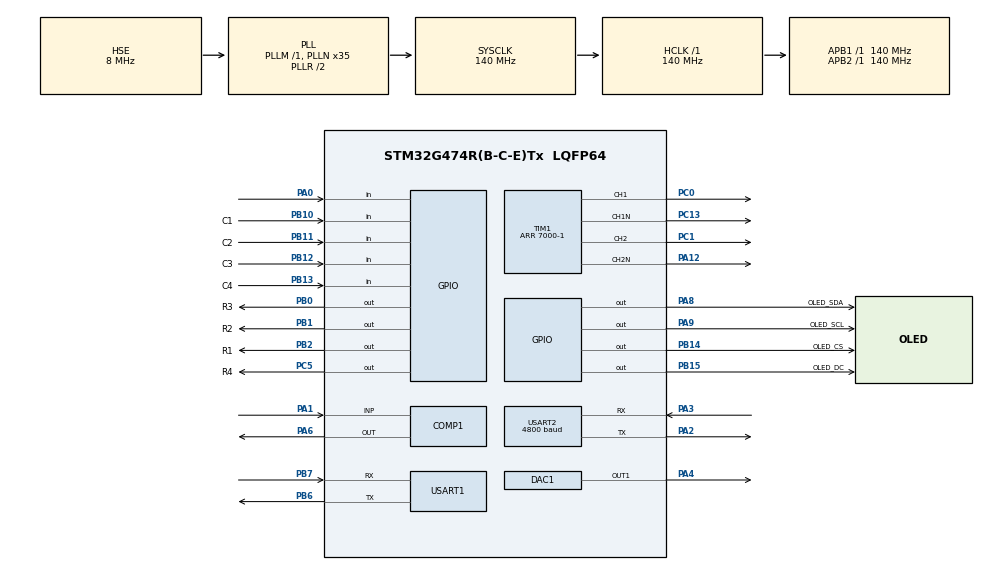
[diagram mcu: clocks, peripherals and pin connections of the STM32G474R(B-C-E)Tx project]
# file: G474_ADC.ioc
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COMP1.OutputPol=COMP_OUTPUTPOL_NONINVERTED
COMP1.TriggerMode=COMP_TRIGGERMODE_IT_RISING_FALLING
DAC1.DAC_Trigger_OUT1-DAC_OUT1_ExtAndInt=DAC_TRIGGER_SOFTWARE
DAC1.DAC_UserTrimming-DAC_OUT1_ExtAndInt=DAC_TRIMMING_FACTORY
Mcu.Family=STM32G4
Mcu.Name=STM32G474R(B-C-E)Tx
Mcu.Package=LQFP64
NVIC.COMP1_2_3_IRQn=true\:1\:0\:true\:false\:true\:false\:true\:true
NVIC.PriorityGroup=NVIC_PRIORITYGROUP_4
NVIC.TIM2_IRQn=true\:0\:0\:false\:false\:true\:true\:true\:true
NVIC.TIM4_IRQn=true\:1\:0\:true\:false\:true\:true\:true\:true
NVIC.USART1_IRQn=true\:0\:0\:true\:false\:true\:true\:true\:true
NVIC.USART2_IRQn=true\:0\:0\:false\:false\:true\:true\:true\:true
PA0.GPIO_PuPd=GPIO_PULLDOWN
PA0.Signal=GPIO_Input
PA1.Mode=INP
PA1.Signal=COMP1_INP
PA12.Mode=PWM Generation2 CH2 CH2N
PA12.Signal=TIM1_CH2N
PA13.Mode=Serial_Wire
PA13.Signal=SYS_JTMS-SWDIO
PA14.Mode=Serial_Wire
PA14.Signal=SYS_JTCK-SWCLK
PA2.Mode=Asynchronous
PA2.Signal=USART2_TX
PA3.Mode=Asynchronous
PA3.Signal=USART2_RX
PA4.Signal=COMP_DAC11_group
PA6.Mode=ExternalOutput
PA6.Signal=COMP1_OUT
PA8.GPIO_Label=OLED_SDA
PA8.GPIO_PuPd=GPIO_PULLUP
PA8.GPIO_Speed=GPIO_SPEED_FREQ_VERY_HIGH
PA8.Signal=GPIO_Output
PA9.GPIO_Label=OLED_SCL
PA9.GPIO_PuPd=GPIO_PULLUP
PA9.GPIO_Speed=GPIO_SPEED_FREQ_VERY_HIGH
PA9.Signal=GPIO_Output
PB0.GPIO_Label=R3
PB0.GPIO_PuPd=GPIO_PULLDOWN
PB0.Signal=GPIO_Output
PB1.GPIO_Label=R2
PB1.GPIO_PuPd=GPIO_PULLDOWN
PB1.Signal=GPIO_Output
PB10.GPIO_Label=C1
PB10.GPIO_PuPd=GPIO_PULLDOWN
PB10.Signal=GPIO_Input
PB11.GPIO_Label=C2
PB11.GPIO_PuPd=GPIO_PULLDOWN
PB11.Signal=GPIO_Input
PB12.GPIO_Label=C3
PB12.GPIO_PuPd=GPIO_PULLDOWN
PB12.Signal=GPIO_Input
PB13.GPIO_Label=C4
PB13.GPIO_PuPd=GPIO_PULLDOWN
PB13.Signal=GPIO_Input
PB14.GPIO_Label=OLED_CS
PB14.GPIO_Speed=GPIO_SPEED_FREQ_VERY_HIGH
PB14.Signal=GPIO_Output
PB15.GPIO_Label=OLED_DC
PB15.GPIO_PuPd=GPIO_PULLUP
PB15.GPIO_Speed=GPIO_SPEED_FREQ_VERY_HIGH
PB15.Signal=GPIO_Output
PB2.GPIO_Label=R1
PB2.GPIO_PuPd=GPIO_PULLDOWN
PB2.Signal=GPIO_Output
PB6.Mode=Asynchronous
PB6.Signal=USART1_TX
PB7.Mode=Asynchronous
PB7.Signal=USART1_RX
PC0.Signal=S_TIM1_CH1
PC1.Signal=S_TIM1_CH2
PC13.Mode=PWM Generation1 CH1 CH1N
PC13.Signal=TIM1_CH1N
PC5.GPIO_Label=R4
PC5.GPIO_PuPd=GPIO_PULLDOWN
PC5.Signal=GPIO_Output
PF0-OSC_IN.Mode=HSE-External-Oscillator
PF0-OSC_IN.Signal=RCC_OSC_IN
PF1-OSC_OUT.Mode=HSE-External-Oscillator
PF1-OSC_OUT.Signal=RCC_OSC_OUT
ProjectManager.HeapSize=0x200
ProjectManager.StackSize=0x400
ProjectManager.TargetToolchain=STM32CubeIDE
RCC.ADC12Freq_Value=140000000
RCC.ADC345Freq_Value=140000000
RCC.AHBFreq_Value=140000000
RCC.APB1Freq_Value=140000000
RCC.APB1TimFreq_Value=140000000
RCC.APB2Freq_Value=140000000
RCC.APB2TimFreq_Value=140000000
RCC.CortexFreq_Value=140000000
RCC.EXTERNAL_CLOCK_VALUE=12288000
RCC.HCLKFreq_Value=140000000
RCC.HSE_VALUE=8000000
RCC.HSI48_VALUE=48000000
RCC.HSI_VALUE=16000000
RCC.LSE_VALUE=32768
RCC.PLLN=35
RCC.PLLSourceVirtual=RCC_PLLSOURCE_HSE
RCC.SYSCLKFreq_VALUE=140000000
RCC.SYSCLKSource=RCC_SYSCLKSOURCE_PLLCLK
RCC.USBFreq_Value=140000000
RCC.VCOOutputFreq_Value=280000000
SH.COMP_DAC11_group.0=DAC1_OUT1,DAC_OUT1_ExtAndInt
SH.S_TIM1_CH1.0=TIM1_CH1,PWM Generation1 CH1 CH1N
SH.S_TIM1_CH2.0=TIM1_CH2,PWM Generation2 CH2 CH2N
TIM1.AutoReloadPreload=TIM_AUTORELOAD_PRELOAD_ENABLE
TIM1.Channel-PWM\ Generation1\ CH1\ CH1N=TIM_CHANNEL_1
TIM1.Channel-PWM\ Generation2\ CH2\ CH2N=TIM_CHANNEL_2
TIM1.DeadTime=70
TIM1.OC1Preload_PWM=ENABLE
TIM1.PeriodNoDither=7000-1
TIM1.PulseNoDither_1=3500
TIM1.PulseNoDither_2=3500
TIM1.TIM_MasterOutputTrigger=TIM_TRGO_RESET
TIM1.TIM_MasterSlaveMode=TIM_MASTERSLAVEMODE_DISABLE
TIM2.AutoReloadPreload=TIM_AUTORELOAD_PRELOAD_DISABLE
TIM2.CounterMode=TIM_COUNTERMODE_UP
TIM2.PeriodNoDither=900
TIM2.Prescaler=140-1
TIM4.AutoReloadPreload=TIM_AUTORELOAD_PRELOAD_ENABLE
TIM4.PeriodNoDither=10000
TIM4.Prescaler=1400-1
USART1.VirtualMode-Asynchronous=VM_ASYNC
USART2.BaudRate=4800
USART2.VirtualMode-Asynchronous=VM_ASYNC
VP_COMP1_VS_DAC1OUT1.Mode=INM_DAC1OUT1
VP_SYS_VS_DBSignals.Mode=DisableDeadBatterySignals
VP_TIM2_VS_ClockSourceINT.Mode=Internal
VP_TIM4_VS_ClockSourceINT.Mode=Internal
board=custom

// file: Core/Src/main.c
/* USER CODE BEGIN Header */
/**
 ******************************************************************************
 * @file           : main.c
 * @brief          : Main program body
 ******************************************************************************
 * @attention
 *
 * Copyright (c) 2024 STMicroelectronics.
 * All rights reserved.
 *
 * This software is licensed under terms that can be found in the LICENSE file
 * in the root directory of this software component.
 * If no LICENSE file comes with this software, it is provided AS-IS.
 *
 ******************************************************************************
 */
/* USER CODE END Header */
#include "main.h"
#include "comp.h"
#include "dac.h"
#include "tim.h"
#include "usart.h"
#include "gpio.h"

/* USER CODE BEGIN Includes */
#include <string.h>
#include <stdio.h>
#include "oled.h"
#include "vofa.h"
#include "pid.h"
#include "IM1281B.h"
/* USER CODE END Includes */

/* USER CODE BEGIN PD */
#define POSITIVE 1
#define NEGATIVE 0
#define PWM_COMPARE_MAX 6800
/* USER CODE END PD */

/* USER CODE BEGIN PM */
//串口重定向到usart1
#ifdef __GNUC__
#define PUTCHAR_PROTOTYPE int __io_putchar(int ch)
#else
#define PUTCHAR_PROTOTYPE int fputc(int ch, FILE *f)
#endif

PUTCHAR_PROTOTYPE
{
	HAL_UART_Transmit(&huart1,(uint8_t*)&ch, 1, 0xFFFF);
	return ch;
}
/* USER CODE END PM */

/* USER CODE BEGIN PV */
/* Private variables ---------------------------------------------------------*/
uint16_t g_count=0;
uint8_t g_H=0;
uint8_t g_L=0;
uint32_t g_time_last=0,g_time_now=0;
uint8_t g_ac_mode;
uint8_t g_pwm_start=0;
uint16_t g_pwm_compare=0;

uint8_t RxBuffer[1];//串口接收缓冲
/* USER CODE END PV */

void SystemClock_Config(void);

/* USER CODE BEGIN 0 */

// tim2 other use
//void Delay_us(uint16_t nus)
//{
//	__HAL_TIM_SET_COUNTER(&htim2, 0); //把计数器的�?�设置为0
//	__HAL_TIM_ENABLE(&htim2); //�???????????????????????启计�???????????????????????
//	while (__HAL_TIM_GET_COUNTER(&htim2) < nus); //每计数一次，就是1us，直到计数器值等于我们需要的时间
//	__HAL_TIM_DISABLE(&htim2); //关闭计数
//
//}
void HAL_UART_RxCpltCallback(UART_HandleTypeDef *UartHandle)
{
    uint8_t Byte;

    if(UartHandle->Instance==USART2)//如果是串�?????????
       {
           //电压反馈
           Byte=g_uart_rx_byte;// ??个一个字节地接收

   		if (g_uart_rx_index == 0) {
   			if (Byte == MODBUS_FRAME_DEVICE_BYTE) {
   				g_uart_rx_buffer[g_uart_rx_index++] = Byte;//�????????? ? 完后再�?�增
   			}
   		}
   		else if(g_uart_rx_index == 1){
   			if (Byte == MODBUS_FRAME_READ_BYTE || Byte == MODBUS_FRAME_WRITE_BYTE) {
   				g_uart_rx_buffer[g_uart_rx_index++] = Byte;//�????????? ? 完后再�?�增
   			}
   			else{//无法识别为CFG服务
   				g_uart_rx_index = 0;
   			}
   		}
   		else {
   			g_uart_rx_buffer[g_uart_rx_index++] = Byte;
   			if (g_uart_rx_index >= FRAME_RECEIVE_LENGTH) {
   				g_uart_rx_index = 0;
   				g_uart_frame_received = 1;
   			}
   		}

           HAL_UART_Receive_IT(&huart2, &g_uart_rx_byte, 1);
       }

}

void HAL_TIM_PeriodElapsedCallback(TIM_HandleTypeDef *htim)
{
	static uint8_t Key=0;
	static uint8_t Key_Last=0;

	if(htim==&htim2){
		g_count++;

		HAL_TIM_Base_Stop(&htim2);
		if(g_pwm_compare >= PWM_COMPARE_MAX){
			g_pwm_compare = PWM_COMPARE_MAX;
		}
		g_pwm_compare = 6990;
		if(HAL_COMP_GetOutputLevel(&hcomp1)==COMP_OUTPUT_LEVEL_HIGH){
			// AC 正半�???????????????
			__HAL_TIM_SetCompare(&htim1, TIM_CHANNEL_1,g_pwm_compare);
			__HAL_TIM_SetCompare(&htim1, TIM_CHANNEL_2,0);
////			//AC负半周的过零
//			HAL_DAC_SetValue(&hdac1, DAC_CHANNEL_1, DAC_ALIGN_12B_R, 3080);
//			HAL_DAC_Start(&hdac1,DAC_CHANNEL_1);//启动DAC1

		}
		else {
			__HAL_TIM_SetCompare(&htim1, TIM_CHANNEL_1,0);
			__HAL_TIM_SetCompare(&htim1, TIM_CHANNEL_2,g_pwm_compare);
////			//AC正半周的过零
//			HAL_DAC_SetValue(&hdac1, DAC_CHANNEL_1, DAC_ALIGN_12B_R, 3150);
//			HAL_DAC_Start(&hdac1,DAC_CHANNEL_1);//启动DAC1
		}
		g_time_last = g_time_now;
	}

    //按键处理
    if(htim == (&htim4))
    {
        Key = Get_KeyBoard();
        if(Key != Key_Last)
        {
            switch(Key)
            {
                case 0: break;
                case 1:
                    if(g_level == 0)
                        g_suboption0 = (g_suboption0 +1)%4;
                    break;
                case 2:
                    g_suboption0--;
                    if(g_suboption0<0)
                        g_suboption0 = 3;
                    break;
                case 3:
                    g_level = (g_level+1)%2; break;
                case 4:
                    g_level --;
                    if(g_level <0)
                        g_level = 1;
                    break;
                case 9:
                    g_aim_voltage += 0.5;
                    if(g_aim_voltage>35)
                        g_aim_voltage=1;
                    g_pwm_compare = 7000/36*g_aim_voltage;
                    OLED_Printf(10, 10, 16, "voltage=%.2f",g_aim_voltage);
                    OLED_Printf(10, 30, 16, "compare=%04d",g_pwm_compare);
                    OLED_Reflash();
                    break;
                case 10:
                    g_aim_voltage -=0.5;
                    if(g_aim_voltage<1)
                        g_aim_voltage=35;
                    g_pwm_compare = 7000/36*g_aim_voltage;
					OLED_Printf(10, 10, 16, "voltage=%4.2f   ",g_aim_voltage);
					OLED_Printf(10, 30, 16, "compare=%04d",g_pwm_compare);
					OLED_Reflash();
                    break;
                case 17:
                    break;

            }

        }
       // menu_show(g_level, g_suboption0);
        Key_Last = Key;
    }
}

void HAL_COMP_TriggerCallback(COMP_HandleTypeDef *hcomp){
	if(hcomp==&hcomp1){
		g_time_now =  HAL_GetTick();
		if(g_time_now - g_time_last >= 8){
			__HAL_TIM_SET_COUNTER(&htim2, 0);
			HAL_TIM_Base_Start_IT(&htim2);

		}
	}
}

/* USER CODE END 0 */

int main(void)
{

  /* MCU Configuration--------------------------------------------------------*/

  /* Reset of all peripherals, Initializes the Flash interface and the Systick. */
  HAL_Init();

  /* Configure the system clock */
  SystemClock_Config();

  /* Initialize all configured peripherals */
  MX_GPIO_Init();
  MX_USART1_UART_Init();
  MX_TIM1_Init();
  MX_COMP1_Init();
  MX_DAC1_Init();
  MX_TIM4_Init();
  MX_TIM2_Init();
  MX_USART2_UART_Init();
  /* USER CODE BEGIN 2 */
	OLED_Init();//OLED初始�????????????????????????????????????????

	HAL_UARTEx_ReceiveToIdle_IT(&huart1, g_vofa_rx_buffer, VOFA_FRAME_RECEIVE_MAX_LENGTH);
	HAL_UART_Receive_IT(&huart2, &g_uart_rx_byte, 1); //modbus
	HAL_TIM_Base_Start_IT(&htim4);//按键定时器中�?????????????????????????????????

	//设置DAC+比较器实�???????????????????????????????????????????

	uint32_t VOLTAGE_COMP=0;
	HAL_COMP_Start(&hcomp1);//启动比较�???????????????????????????????????????????1
	HAL_DAC_SetValue(&hdac1, DAC_CHANNEL_1, DAC_ALIGN_12B_R, 3090);//DAC输出2.51V电压  3114
	HAL_DAC_Start(&hdac1,DAC_CHANNEL_1);//启动DAC1
	HAL_Delay(1);

	HAL_TIM_PWM_Start(&htim1, TIM_CHANNEL_1);
	HAL_TIMEx_PWMN_Start(&htim1,TIM_CHANNEL_1);
	HAL_TIM_PWM_Start(&htim1, TIM_CHANNEL_2);
	HAL_TIMEx_PWMN_Start(&htim1,TIM_CHANNEL_2);

	OLED_Printf(10, 10, 16, "voltage=%.2f",g_aim_voltage);
	OLED_Printf(10, 30, 16, "compare=%d",g_pwm_compare);
	OLED_Reflash();
  /* USER CODE END 2 */

  /* Infinite loop */
  /* USER CODE BEGIN WHILE */
	g_count=0;

	while (1)
	{

    /* USER CODE END WHILE */

    /* USER CODE BEGIN 3 */
		OLED_Printf(10, 50, 16, "count=%d",g_count);
		OLED_Reflash();
//		Show_AC_Param();

	}
  /* USER CODE END 3 */
}

void SystemClock_Config(void)
{
  RCC_OscInitTypeDef RCC_OscInitStruct = {0};
  RCC_ClkInitTypeDef RCC_ClkInitStruct = {0};

  /** Configure the main internal regulator output voltage
  */
  HAL_PWREx_ControlVoltageScaling(PWR_REGULATOR_VOLTAGE_SCALE1);

  /** Initializes the RCC Oscillators according to the specified parameters
  * in the RCC_OscInitTypeDef structure.
  */
  RCC_OscInitStruct.OscillatorType = RCC_OSCILLATORTYPE_HSE;
  RCC_OscInitStruct.HSEState = RCC_HSE_ON;
  RCC_OscInitStruct.PLL.PLLState = RCC_PLL_ON;
  RCC_OscInitStruct.PLL.PLLSource = RCC_PLLSOURCE_HSE;
  RCC_OscInitStruct.PLL.PLLM = RCC_PLLM_DIV1;
  RCC_OscInitStruct.PLL.PLLN = 35;
  RCC_OscInitStruct.PLL.PLLP = RCC_PLLP_DIV2;
  RCC_OscInitStruct.PLL.PLLQ = RCC_PLLQ_DIV2;
  RCC_OscInitStruct.PLL.PLLR = RCC_PLLR_DIV2;
  if (HAL_RCC_OscConfig(&RCC_OscInitStruct) != HAL_OK)
  {
    Error_Handler();
  }

  /** Initializes the CPU, AHB and APB buses clocks
  */
  RCC_ClkInitStruct.ClockType = RCC_CLOCKTYPE_HCLK|RCC_CLOCKTYPE_SYSCLK
                              |RCC_CLOCKTYPE_PCLK1|RCC_CLOCKTYPE_PCLK2;
  RCC_ClkInitStruct.SYSCLKSource = RCC_SYSCLKSOURCE_PLLCLK;
  RCC_ClkInitStruct.AHBCLKDivider = RCC_SYSCLK_DIV1;
  RCC_ClkInitStruct.APB1CLKDivider = RCC_HCLK_DIV1;
  RCC_ClkInitStruct.APB2CLKDivider = RCC_HCLK_DIV1;

  if (HAL_RCC_ClockConfig(&RCC_ClkInitStruct, FLASH_LATENCY_4) != HAL_OK)
  {
    Error_Handler();
  }
}

void Error_Handler(void)
{
	__disable_irq();
	while (1)
	{
	}
}
